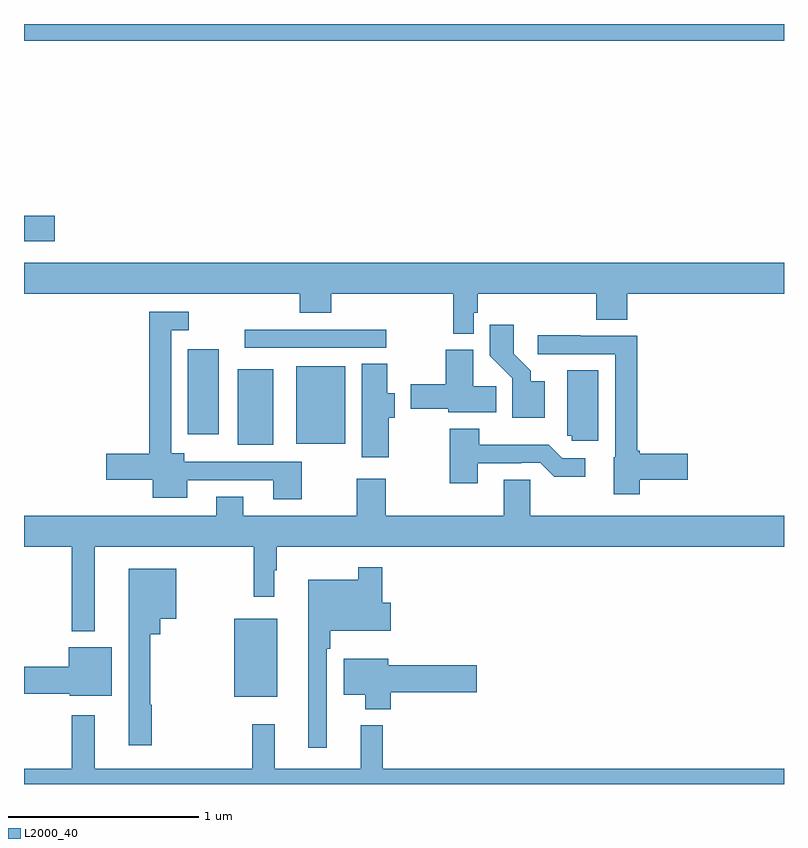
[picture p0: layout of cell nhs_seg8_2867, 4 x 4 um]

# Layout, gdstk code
import gdstk
lib = gdstk.Library(unit=1e-6, precision=1e-09)
def R(c, l, rs):  # rectangles x0, y0, x1, y1
    for r in rs: c.add(gdstk.rectangle(r[:2], r[2:], *l))
def P(c, l, *ps):  # polygons
    for p in ps: c.add(gdstk.Polygon(p, *l))
L2000_40 = (2000, 40)

nhs_seg8_2867 = lib.new_cell('nhs_seg8_2867')
R(nhs_seg8_2867, L2000_40, [(292.106,1134.359,292.333,1134.769), (292.124,1135.685,292.312,1136.083), (292.433,1135.691,292.69,1136.098), (291.863,1135.74,292.024,1136.188), (292.161,1136.196,292.906,1136.292), (291,1136.756,291.163,1136.891), (291,1137.812,295,1137.9)])
P(nhs_seg8_2867, L2000_40, [(293.367,1136.379),(293.387,1136.379),(293.387,1136.48),(294.011,1136.48),(294.011,1136.344),(294.176,1136.344),(294.176,1136.48),(295,1136.48),(295,1136.644),(291,1136.644),(291,1136.48),(292.451,1136.48),(292.451,1136.381),(292.616,1136.381),(292.616,1136.48),(293.259,1136.48),(293.259,1136.27),(293.367,1136.27)],
  [(292.461,1135.596),(291.844,1135.596),(291.844,1135.642),(291.774,1135.642),(291.774,1136.289),(291.868,1136.289),(291.868,1136.385),(291.658,1136.385),(291.658,1135.637),(291.432,1135.637),(291.432,1135.502),(291.677,1135.502),(291.677,1135.406),(291.859,1135.406),(291.859,1135.5),(292.313,1135.5),(292.313,1135.398),(292.461,1135.398)],
  [(293.74,1136.02),(293.668,1136.02),(293.668,1136.075),(293.578,1136.165),(293.578,1136.317),(293.452,1136.317),(293.452,1136.154),(293.571,1136.035),(293.571,1135.827),(293.74,1135.827)],
  [(294.24,1135.502),(294.493,1135.502),(294.493,1135.637),(294.24,1135.637),(294.24,1135.655),(294.227,1135.655),(294.227,1136.259),(293.927,1136.259),(293.927,1136.262),(293.703,1136.262),(293.703,1136.163),(294.111,1136.163),(294.111,1135.62),(294.104,1135.62),(294.104,1135.424),(294.24,1135.424)],
  [(293.486,1135.994),(293.365,1135.994),(293.365,1136.185),(293.221,1136.185),(293.221,1136.004),(293.036,1136.004),(293.036,1135.874),(293.232,1135.874),(293.232,1135.856),(293.486,1135.856)],
  [(292.92,1135.828),(292.951,1135.828),(292.951,1135.957),(292.912,1135.957),(292.912,1136.111),(292.778,1136.111),(292.778,1135.62),(292.92,1135.62)],
  [(294.022,1136.078),(293.858,1136.078),(293.858,1135.734),(293.883,1135.734),(293.883,1135.707),(294.022,1135.707)],
  [(293.389,1135.587),(293.618,1135.587),(293.618,1135.59),(293.718,1135.59),(293.791,1135.517),(293.953,1135.517),(293.953,1135.614),(293.832,1135.614),(293.761,1135.685),(293.397,1135.685),(293.397,1135.771),(293.242,1135.771),(293.242,1135.482),(293.389,1135.482)],
  [(291.373,1135.148),(292.209,1135.148),(292.209,1134.885),(292.318,1134.885),(292.318,1135.025),(292.33,1135.025),(292.33,1135.148),(295,1135.148),(295,1135.312),(293.664,1135.312),(293.664,1135.502),(293.525,1135.502),(293.525,1135.312),(292.905,1135.312),(292.905,1135.507),(292.75,1135.507),(292.75,1135.312),(292.153,1135.312),(292.153,1135.411),(292.013,1135.411),(292.013,1135.312),(291,1135.312),(291,1135.148),(291.252,1135.148),(291.252,1134.704),(291.373,1134.704)],
  [(292.593,1134.611),(292.613,1134.611),(292.613,1134.707),(292.93,1134.707),(292.93,1134.855),(292.886,1134.855),(292.886,1135.042),(292.758,1135.042),(292.758,1134.976),(292.496,1134.976),(292.496,1134.09),(292.593,1134.09)],
  [(291.673,1134.317),(291.665,1134.317),(291.665,1134.689),(291.717,1134.689),(291.717,1134.77),(291.802,1134.77),(291.802,1135.033),(291.551,1135.033),(291.551,1134.105),(291.673,1134.105)],
  [(291.463,1134.619),(291.236,1134.619),(291.236,1134.518),(291,1134.518),(291,1134.376),(291.24,1134.376),(291.24,1134.365),(291.463,1134.365)],
  [(292.931,1134.382),(293.383,1134.382),(293.383,1134.524),(292.918,1134.524),(292.918,1134.559),(292.682,1134.559),(292.682,1134.371),(292.796,1134.371),(292.796,1134.293),(292.931,1134.293)],
  [(292.201,1134.214),(292.201,1133.98),(291.373,1133.98),(291.373,1134.262),(291.252,1134.262),(291.252,1133.98),(291,1133.98),(291,1133.9),(295,1133.9),(295,1133.98),(292.889,1133.98),(292.889,1134.208),(292.772,1134.208),(292.772,1133.98),(292.319,1133.98),(292.319,1134.214)])

lib.write_gds('nhs_seg8_2867.gds')
